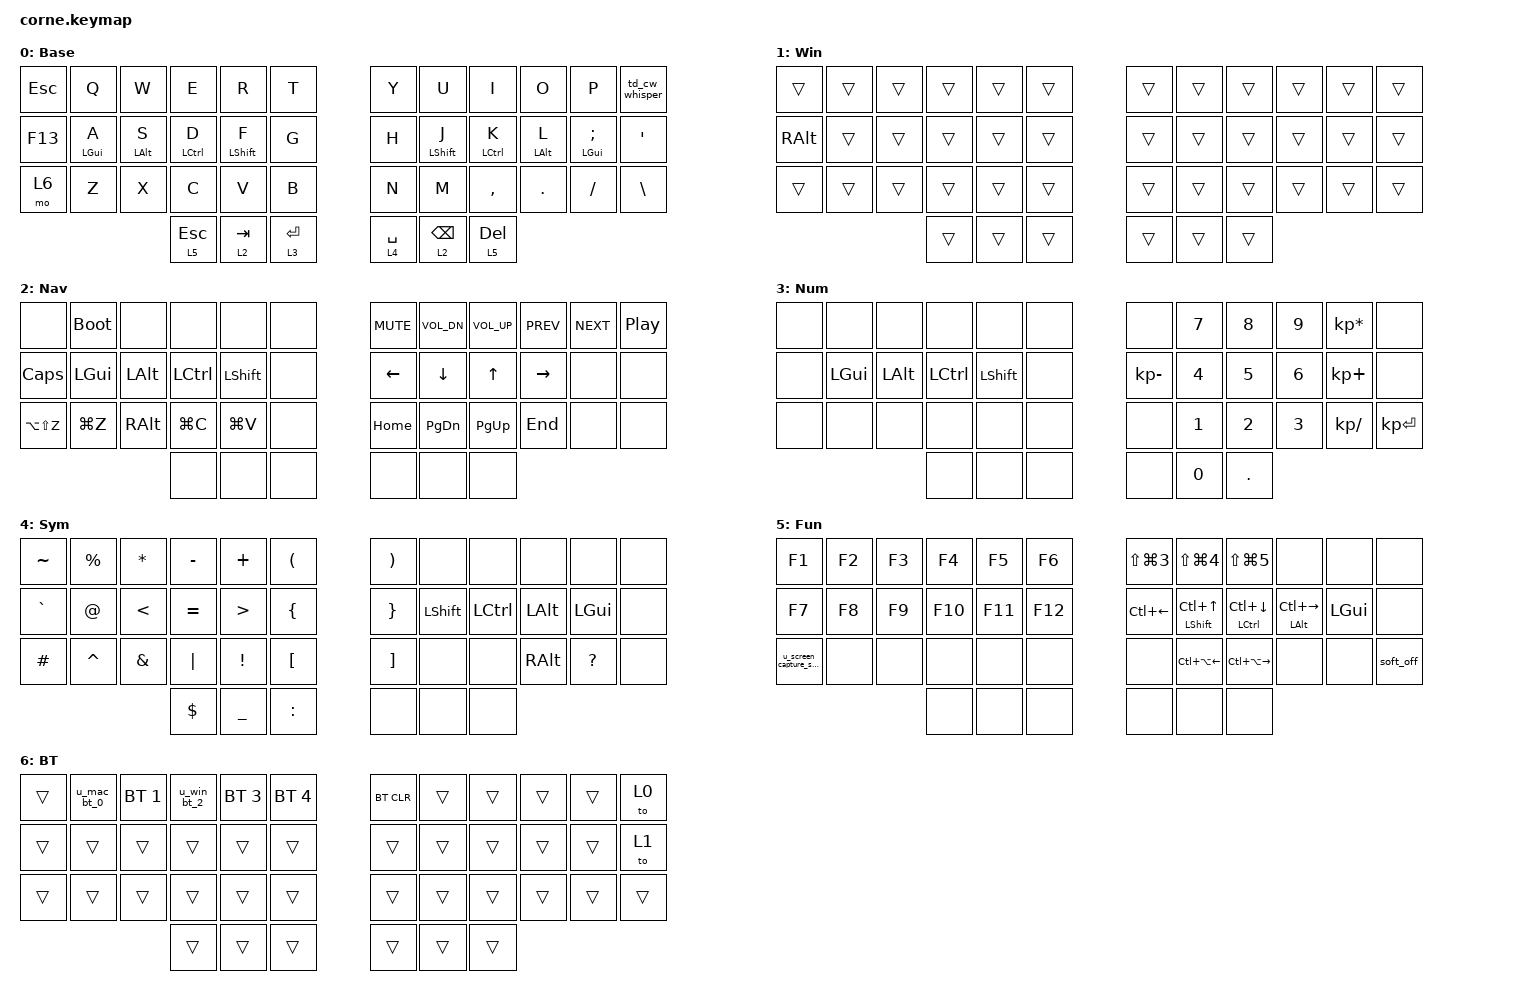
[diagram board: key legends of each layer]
#include <behaviors/mouse_key_press.dtsi>
#include <behaviors.dtsi>
#include <dt-bindings/zmk/bt.h>
#include <dt-bindings/zmk/keys.h>
#include <dt-bindings/zmk/outputs.h>

// Key positions (0-41)
#define LEFT_KEYS 0 1 2 3 4 5 12 13 14 15 16 17 24 25 26 27 28 29
#define RIGHT_KEYS 6 7 8 9 10 11 18 19 20 21 22 23 30 31 32 33 34 35
#define THUMB_KEYS 36 37 38 39 40 41

/ {
    keymap {
        compatible = "zmk,keymap";

        BASE {
            display-name = "Base";
            bindings = <
&kp ESCAPE  &kp Q         &kp W         &kp E          &kp R          &kp T            &kp Y          &kp U          &kp I          &kp O         &kp P            &td_cw_whisper
&kp F13     &hml LGUI A  &hml LALT S  &hml LCTRL D  &hml LSHFT F  &kp G            &kp H          &hmr LSHFT J  &hmr LCTRL K  &hmr LALT L  &hmr LGUI SEMI  &kp SINGLE_QUOTE
&mo 6       &kp Z         &kp X         &kp C          &kp V          &kp B            &kp N          &kp M          &kp COMMA      &kp DOT       &kp SLASH        &kp BACKSLASH
                                        &u_lt 5 ESC    &u_lt 2 TAB    &u_lt 3 ENTER    &u_lt 4 SPACE  &u_lt 2 BSPC   &u_lt 5 DEL
            >;
        };

        win_base {
            display-name = "Win";
            bindings = <
&trans    &trans  &trans  &trans  &trans  &trans    &trans  &trans  &trans  &trans  &trans  &trans
&kp RALT  &trans  &trans  &trans  &trans  &trans    &trans  &trans  &trans  &trans  &trans  &trans
&trans    &trans  &trans  &trans  &trans  &trans    &trans  &trans  &trans  &trans  &trans  &trans
                          &trans  &trans  &trans    &trans  &trans  &trans
            >;
        };

        NAV {
            display-name = "Nav";
            bindings = <
&none          &bootloader  &none     &none      &none      &none    &kp C_MUTE      &kp C_VOL_DN   &kp C_VOL_UP  &kp C_PREV  &kp C_NEXT  &kp C_PLAY_PAUSE
&kp CAPS       &kp LGUI     &kp LALT  &kp LCTRL  &kp LSHFT  &none    &kp LEFT_ARROW  &kp DOWN       &kp UP        &kp RIGHT   &none       &none
&kp LA(LS(Z))  &kp LG(Z)    &kp RALT  &kp LG(C)  &kp LG(V)  &none    &kp HOME        &kp PAGE_DOWN  &kp PAGE_UP   &kp END     &none       &none
                                      &none      &none      &none    &none           &none          &none
            >;
        };

        NUM {
            display-name = "Num";
            bindings = <
&none  &none     &none     &none      &none      &none    &none         &kp N7  &kp N8   &kp N9  &kp KP_MULTIPLY  &none
&none  &kp LGUI  &kp LALT  &kp LCTRL  &kp LSHFT  &none    &kp KP_MINUS  &kp N4  &kp N5   &kp N6  &kp KP_PLUS      &none
&none  &none     &none     &none      &none      &none    &none         &kp N1  &kp N2   &kp N3  &kp KP_DIVIDE    &kp KP_ENTER
                           &none      &none      &none    &none         &kp N0  &kp DOT
            >;
        };

        SYM {
            display-name = "Sym";
            bindings = <
&kp TILDE  &kp PERCENT  &kp ASTRK      &kp MINUS  &kp PLUS          &kp LPAR            &kp RIGHT_PARENTHESIS  &none      &none      &none     &none         &none
&kp GRAVE  &kp AT_SIGN  &kp LESS_THAN  &kp EQUAL  &kp GREATER_THAN  &kp LEFT_BRACE      &kp RIGHT_BRACE        &kp LSHFT  &kp LCTRL  &kp LALT  &kp LGUI      &none
&kp POUND  &kp CARET    &kp AMPERSAND  &kp PIPE   &kp EXCL          &kp LEFT_BRACKET    &kp RIGHT_BRACKET      &none      &none      &kp RALT  &kp QUESTION  &none
                                       &kp DLLR   &kp UNDER         &kp COLON           &none                  &none      &none
            >;
        };

        FUN {
            display-name = "Fun";
            bindings = <
&kp F1                    &kp F2  &kp F3  &kp F4   &kp F5   &kp F6     &kp LS(LG(NUMBER_3))  &kp LS(LG(NUMBER_4))      &kp LS(LG(NUMBER_5))        &none                 &none     &none
&kp F7                    &kp F8  &kp F9  &kp F10  &kp F11  &kp F12    &kp LC(LEFT_ARROW)    &hmr LSHFT LC(UP_ARROW)  &hmr LCTRL LC(DOWN_ARROW)  &hmr LALT LC(RIGHT)  &kp LGUI  &none
&u_screen_capture_select  &none   &none   &none    &none    &none      &none                 &kp LC(LA(LEFT_ARROW))    &kp LC(LA(RIGHT))           &none                 &none     &soft_off
                                          &none    &none    &none      &none                 &none                     &none
            >;
        };

        BT {
            display-name = "BT";
            bindings = <
&trans  &u_mac_bt_0  &bt BT_SEL 1  &u_win_bt_2  &bt BT_SEL 3  &bt BT_SEL 4    &bt BT_CLR  &trans  &trans  &trans  &trans  &to 0
&trans  &trans       &trans        &trans       &trans        &trans          &trans      &trans  &trans  &trans  &trans  &to 1
&trans  &trans       &trans        &trans       &trans        &trans          &trans      &trans  &trans  &trans  &trans  &trans
                                   &trans       &trans        &trans          &trans      &trans  &trans
            >;
        };
    };
};

/ {
    combos {
        compatible = "zmk,combos";

        b_key_from_right {
            bindings = <&kp B>;
            key-positions = <30 31>;
            require-prior-idle-ms = <150>;
        };
    };
};

/ {
    macros {
        u_screen_capture_select: u_screen_capture_select {
            compatible = "zmk,behavior-macro";
            #binding-cells = <0>;
            bindings = <&kp NUMBER_1 &kp B>;
        };

        u_win_bt_2: u_win_bt_2 {
            compatible = "zmk,behavior-macro";
            #binding-cells = <0>;
            bindings = <&to 1 &bt BT_SEL 2>;
        };

        u_mac_bt_0: u_mac_bt_0 {
            compatible = "zmk,behavior-macro";
            #binding-cells = <0>;
            bindings = <&to 0 &bt BT_SEL 0>;
        };

        u_cmd_shift_z: u_cmd_shift_z {
            compatible = "zmk,behavior-macro";
            #binding-cells = <0>;
            bindings = <&kp LG(LS(Z))>;
        };
    };
};

/ {
    behaviors {
        // Home row mods: 반대 손 키(+엄지)를 눌러야만 hold 로 인정,
        // 타이핑 도중(직전 입력 150ms 이내)에는 무조건 tap.
        hml: hml {
            compatible = "zmk,behavior-hold-tap";
            #binding-cells = <2>;
            flavor = "balanced";
            tapping-term-ms = <280>;
            quick-tap-ms = <175>;
            require-prior-idle-ms = <150>;
            hold-trigger-key-positions = <RIGHT_KEYS THUMB_KEYS>;
            hold-trigger-on-release;
            bindings = <&kp>, <&kp>;
        };

        hmr: hmr {
            compatible = "zmk,behavior-hold-tap";
            #binding-cells = <2>;
            flavor = "balanced";
            tapping-term-ms = <280>;
            quick-tap-ms = <175>;
            require-prior-idle-ms = <150>;
            hold-trigger-key-positions = <LEFT_KEYS THUMB_KEYS>;
            hold-trigger-on-release;
            bindings = <&kp>, <&kp>;
        };

        u_lt: u_lt {
            compatible = "zmk,behavior-hold-tap";
            #binding-cells = <2>;
            tapping-term-ms = <200>;
            flavor = "tap-preferred";
            quick-tap-ms = <175>;
            bindings = <&mo>, <&kp>;
        };

        td_cw_whisper: td_cw_whisper {
            compatible = "zmk,behavior-tap-dance";
            #binding-cells = <0>;
            bindings = <&caps_word>, <&u_cmd_shift_z>;
        };
    };
};
